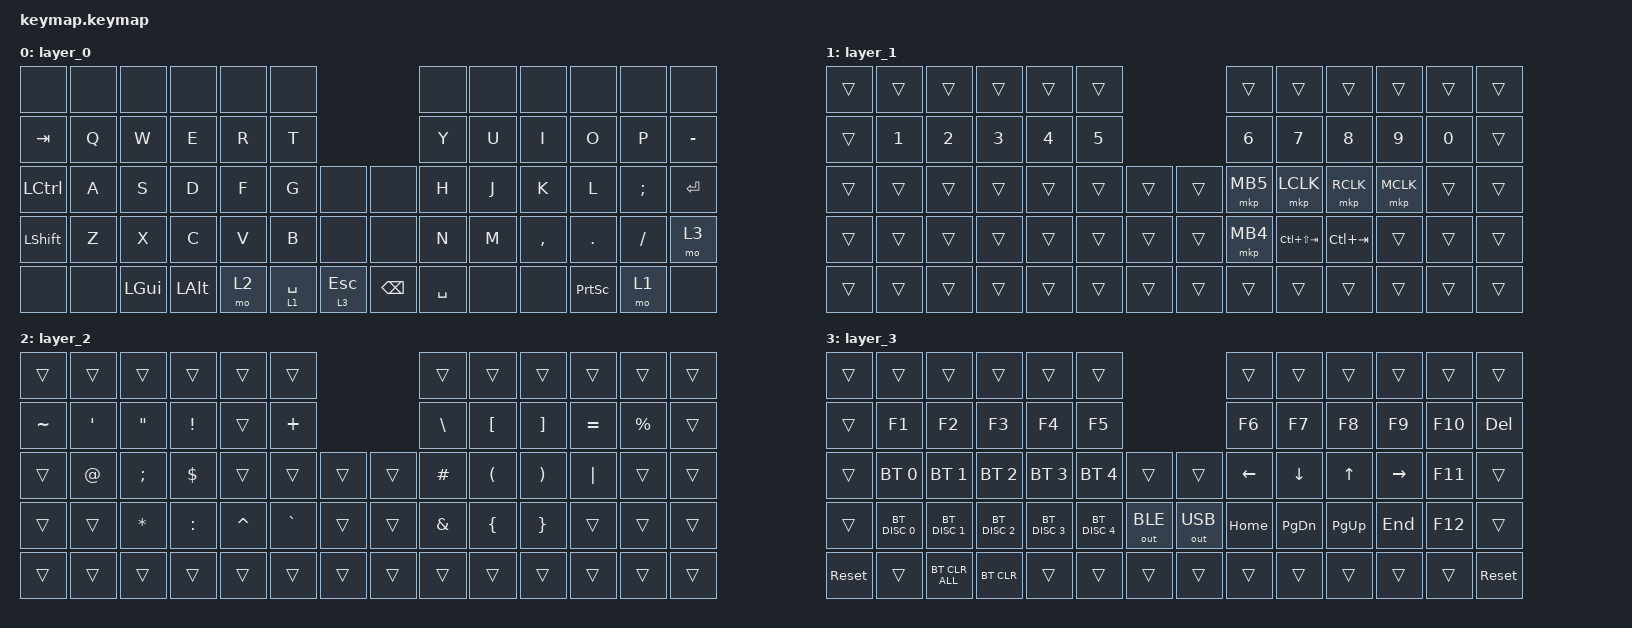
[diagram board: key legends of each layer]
#include <behaviors.dtsi>
#include <dt-bindings/zmk/bt.h>
#include <dt-bindings/zmk/keys.h>
#include <dt-bindings/zmk/outputs.h>
#include <dt-bindings/zmk/pointing.h>

/ {
    combos {
        compatible = "zmk,combos";

        bt_clear {
            bindings = <&bt BT_CLR>;
            key-positions = <28 29>;
            layers = <2>;
        };
    };

    keymap {
        compatible = "zmk,keymap";

        layer_0 {
            bindings = <
&none      &none  &none     &none     &none  &none                                     &none      &none  &none      &none            &none      &none
&kp TAB    &kp Q  &kp W     &kp E     &kp R  &kp T                                     &kp Y      &kp U  &kp I      &kp O            &kp P      &kp MINUS
&kp LCTRL  &kp A  &kp S     &kp D     &kp F  &kp G        &none         &none          &kp H      &kp J  &kp K      &kp L            &kp SEMI   &kp RETURN
&kp LSHFT  &kp Z  &kp X     &kp C     &kp V  &kp B        &none         &none          &kp N      &kp M  &kp COMMA  &kp DOT          &kp SLASH  &mo 3
&none      &none  &kp LGUI  &kp LALT  &mo 2  &lt 1 SPACE  &lt 3 ESCAPE  &kp BACKSPACE  &kp SPACE  &none  &none      &kp PRINTSCREEN  &mo 1      &none
            >;
        };

        layer_1 {
            bindings = <
&trans  &trans        &trans        &trans        &trans        &trans                  &trans        &trans           &trans       &trans        &trans  &trans
&trans  &kp NUMBER_1  &kp NUMBER_2  &kp NUMBER_3  &kp NUMBER_4  &kp N5                  &kp NUMBER_6  &kp N7           &kp N8       &kp NUMBER_9  &kp N0  &trans
&trans  &trans        &trans        &trans        &trans        &trans  &trans  &trans  &mkp MB5      &mkp LCLK        &mkp RCLK    &mkp MCLK     &trans  &trans
&trans  &trans        &trans        &trans        &trans        &trans  &trans  &trans  &mkp MB4      &kp LC(LS(TAB))  &kp LC(TAB)  &trans        &trans  &trans
&trans  &trans        &trans        &trans        &trans        &trans  &trans  &trans  &trans        &trans           &trans       &trans        &trans  &trans
            >;
        };

        layer_2 {
            bindings = <
&trans     &trans       &trans             &trans      &trans     &trans                     &trans         &trans                &trans                 &trans     &trans       &trans
&kp TILDE  &kp SQT      &kp DOUBLE_QUOTES  &kp EXCL    &trans     &kp PLUS                   &kp BACKSLASH  &kp LEFT_BRACKET      &kp RIGHT_BRACKET      &kp EQUAL  &kp PERCENT  &trans
&trans     &kp AT_SIGN  &kp SEMICOLON      &kp DOLLAR  &trans     &trans     &trans  &trans  &kp HASH       &kp LEFT_PARENTHESIS  &kp RIGHT_PARENTHESIS  &kp PIPE   &trans       &trans
&trans     &trans       &kp ASTERISK       &kp COLON   &kp CARET  &kp GRAVE  &trans  &trans  &kp AMPS       &kp LEFT_BRACE        &kp RIGHT_BRACE        &trans     &trans       &trans
&trans     &trans       &trans             &trans      &trans     &trans     &trans  &trans  &trans         &trans                &trans                 &trans     &trans       &trans
            >;
        };

        layer_3 {
            bindings = <
&trans      &trans         &trans          &trans         &trans         &trans                                     &trans    &trans         &trans        &trans     &trans   &trans
&trans      &kp F1         &kp F2          &kp F3         &kp F4         &kp F5                                     &kp F6    &kp F7         &kp F8        &kp F9     &kp F10  &kp DELETE
&trans      &bt BT_SEL 0   &bt BT_SEL 1    &bt BT_SEL 2   &bt BT_SEL 3   &bt BT_SEL 4   &trans        &trans        &kp LEFT  &kp DOWN       &kp UP_ARROW  &kp RIGHT  &kp F11  &trans
&trans      &bt BT_DISC 0  &bt BT_DISC 1   &bt BT_DISC 2  &bt BT_DISC 3  &bt BT_DISC 4  &out OUT_BLE  &out OUT_USB  &kp HOME  &kp PAGE_DOWN  &kp PAGE_UP   &kp END    &kp F12  &trans
&sys_reset  &trans         &bt BT_CLR_ALL  &bt BT_CLR     &trans         &trans         &trans        &trans        &trans    &trans         &trans        &trans     &trans   &sys_reset
            >;
        };
    };
};
